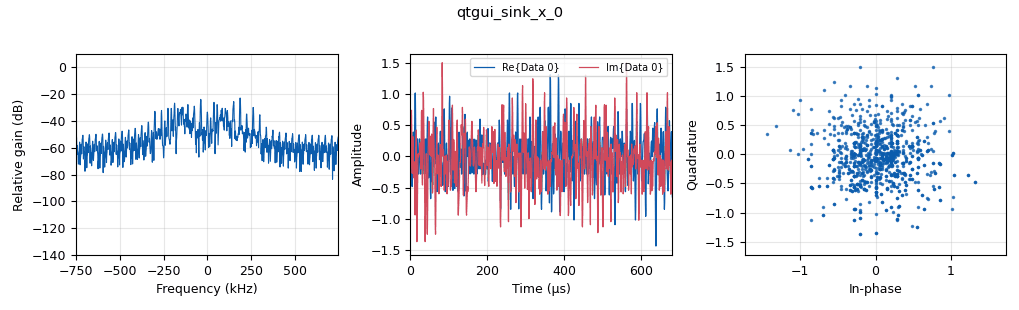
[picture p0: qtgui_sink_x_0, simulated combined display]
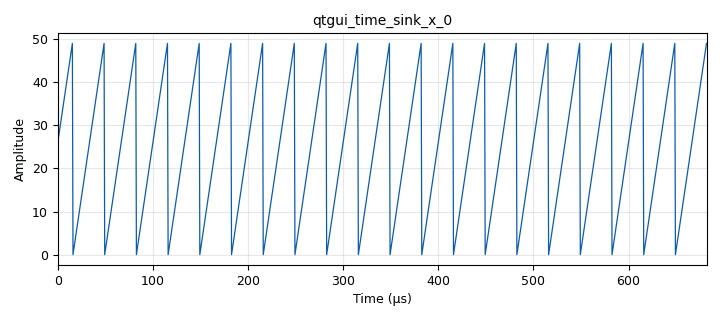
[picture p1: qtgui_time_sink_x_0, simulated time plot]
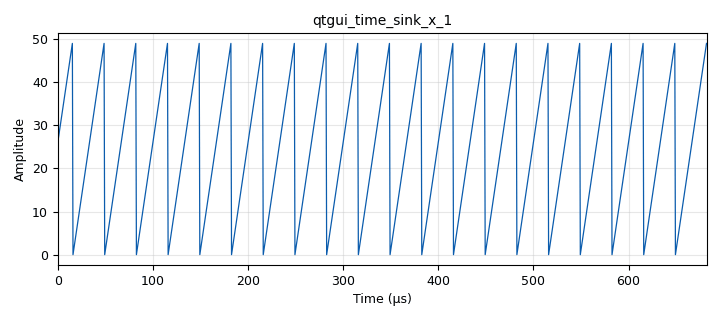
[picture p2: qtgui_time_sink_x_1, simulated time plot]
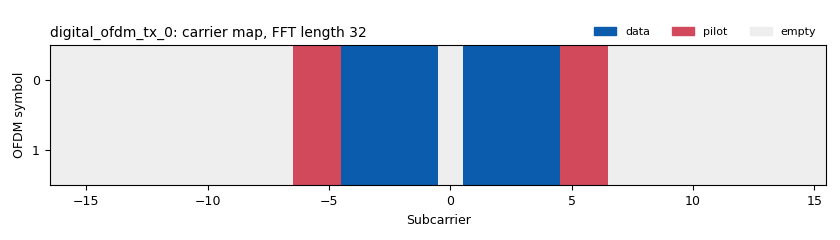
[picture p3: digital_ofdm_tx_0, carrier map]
options:
  parameters:
    generate_options: qt_gui
    id: send_through
    output_language: python
    title: send_through
  states: {}

blocks:
- name: center_freq
  id: variable
  parameters:
    value: 473e6
  states: {}
- name: fft_len
  id: variable
  parameters:
    value: '32'
  states: {}
- name: len_tag
  id: variable
  parameters:
    value: '"packet_len"'
  states: {}
- name: packet_len
  id: variable
  parameters:
    value: '50'
  states: {}
- name: rf_rate
  id: variable
  parameters:
    value: 1.5e6
  states: {}
- name: samp_rate
  id: variable
  parameters:
    value: 1.5e6
  states: {}
- name: blocks_char_to_float_0
  id: blocks_char_to_float
  parameters:
    scale: '1'
  states: {}
- name: blocks_multiply_const_vxx_0
  id: blocks_multiply_const_vxx
  parameters:
    const: '0.1'
    type: complex
  states: {}
- name: blocks_stream_to_tagged_stream_1
  id: blocks_stream_to_tagged_stream
  parameters:
    len_tag_key: len_tag
    packet_len: packet_len
    type: byte
  states: {}
- name: blocks_throttle2_0
  id: blocks_throttle2
  parameters:
    samples_per_second: samp_rate
    type: complex
  states: {}
- name: blocks_uchar_to_float_0
  id: blocks_uchar_to_float
  parameters: {}
  states: {}
- name: blocks_vector_source_x_0_0
  id: blocks_vector_source_x
  parameters:
    repeat: 'True'
    tags: ()
    type: byte
    vector: range(packet_len)
  states: {}
- name: digital_ofdm_rx_0
  id: digital_ofdm_rx
  parameters:
    cp_len: fft_len//4
    fft_len: fft_len
    header_mod: '"BPSK"'
    occupied_carriers: ((-4,-3,-2,-1,1,2,3,4),)
    packet_len_key: '"rx_len"'
    payload_mod: '"QPSK"'
    pilot_carriers: ((-6,-5,5,6),)
    pilot_symbols: ((-1,1,-1,1),)
    sync_word1: None
    sync_word2: None
  states: {}
- name: digital_ofdm_tx_0
  id: digital_ofdm_tx
  parameters:
    cp_len: int(fft_len/4)
    fft_len: fft_len
    header_mod: '"BPSK"'
    log: 'True'
    occupied_carriers: ((-4,-3,-2,-1,1,2,3,4),)
    packet_len_key: len_tag
    payload_mod: '"QPSK"'
    pilot_carriers: ((-6,-5,5,6),)
    pilot_symbols: ((-1,1,-1,1),)
    rolloff: '0'
    sync_word1: None
    sync_word2: None
  states: {}
- name: qtgui_sink_x_0
  id: qtgui_sink_x
  parameters:
    bw: samp_rate
    fc: '0'
    fftsize: '1024'
    type: complex
  states: {}
- name: qtgui_time_sink_x_0
  id: qtgui_time_sink_x
  parameters:
    autoscale: 'True'
    size: '1024'
    srate: samp_rate
    type: float
  states: {}
- name: qtgui_time_sink_x_1
  id: qtgui_time_sink_x
  parameters:
    autoscale: 'True'
    size: '1024'
    srate: samp_rate
    type: float
  states: {}

connections:
- [blocks_char_to_float_0, '0', qtgui_time_sink_x_1, '0']
- [blocks_multiply_const_vxx_0, '0', blocks_throttle2_0, '0']
- [blocks_stream_to_tagged_stream_1, '0', digital_ofdm_tx_0, '0']
- [blocks_throttle2_0, '0', digital_ofdm_rx_0, '0']
- [blocks_throttle2_0, '0', qtgui_sink_x_0, '0']
- [blocks_uchar_to_float_0, '0', qtgui_time_sink_x_0, '0']
- [blocks_vector_source_x_0_0, '0', blocks_char_to_float_0, '0']
- [blocks_vector_source_x_0_0, '0', blocks_stream_to_tagged_stream_1, '0']
- [digital_ofdm_rx_0, '0', blocks_uchar_to_float_0, '0']
- [digital_ofdm_tx_0, '0', blocks_multiply_const_vxx_0, '0']

metadata:
  file_format: 1
  grc_version: 3.10.10.0
